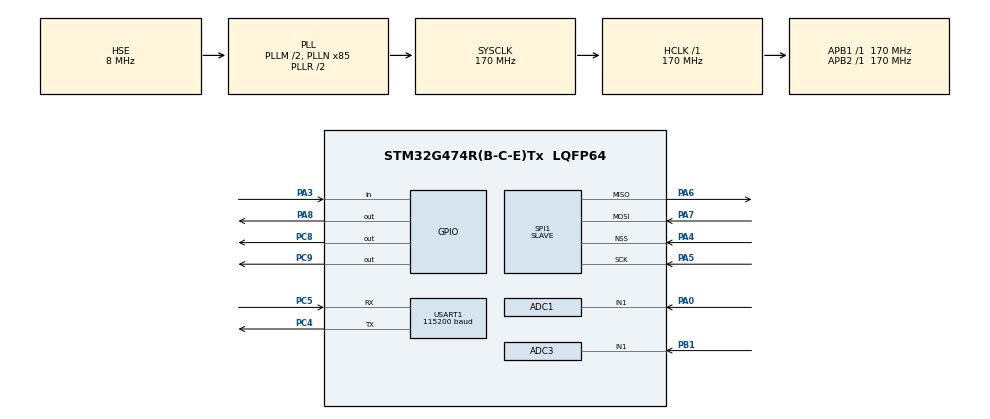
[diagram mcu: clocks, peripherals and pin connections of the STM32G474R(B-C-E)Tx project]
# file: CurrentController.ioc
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ADC1.Channel-0\#ChannelRegularConversion=ADC_CHANNEL_1
ADC1.ContinuousConvMode=ENABLE
ADC1.NbrOfConversion=1
ADC1.NbrOfConversionFlag=1
ADC1.OffsetNumber-0\#ChannelRegularConversion=ADC_OFFSET_NONE
ADC1.OversamplingMode=ENABLE
ADC1.Rank-0\#ChannelRegularConversion=1
ADC1.Ratio=ADC_OVERSAMPLING_RATIO_8
ADC1.SamplingTime-0\#ChannelRegularConversion=ADC_SAMPLETIME_2CYCLES_5
ADC1.master=1
ADC3.Channel-2\#ChannelRegularConversion=ADC_CHANNEL_1
ADC3.NbrOfConversionFlag=1
ADC3.OffsetNumber-2\#ChannelRegularConversion=ADC_OFFSET_NONE
ADC3.Rank-2\#ChannelRegularConversion=1
ADC3.SamplingTime-2\#ChannelRegularConversion=ADC_SAMPLETIME_2CYCLES_5
ADC3.master=1
Mcu.Family=STM32G4
Mcu.Name=STM32G474R(B-C-E)Tx
Mcu.Package=LQFP64
NVIC.PriorityGroup=NVIC_PRIORITYGROUP_4
NVIC.USART1_IRQn=true\:0\:0\:false\:false\:true\:true\:true\:true
PA0.Mode=IN1-Single-Ended
PA0.Signal=ADC1_IN1
PA13.Mode=Serial_Wire
PA13.Signal=SYS_JTMS-SWDIO
PA14.Mode=Serial_Wire
PA14.Signal=SYS_JTCK-SWCLK
PA3.Signal=GPIO_Input
PA4.Mode=NSS_Signal_Hard_Input
PA4.Signal=SPI1_NSS
PA5.Mode=Full_Duplex_Slave
PA5.Signal=SPI1_SCK
PA6.Mode=Full_Duplex_Slave
PA6.Signal=SPI1_MISO
PA7.Mode=Full_Duplex_Slave
PA7.Signal=SPI1_MOSI
PA8.Signal=GPIO_Output
PB1.Mode=IN1-Single-Ended
PB1.Signal=ADC3_IN1
PC4.Mode=Asynchronous
PC4.Signal=USART1_TX
PC5.Mode=Asynchronous
PC5.Signal=USART1_RX
PC8.Signal=GPIO_Output
PC9.Signal=GPIO_Output
PF0-OSC_IN.Mode=HSE-External-Oscillator
PF0-OSC_IN.Signal=RCC_OSC_IN
PF1-OSC_OUT.Mode=HSE-External-Oscillator
PF1-OSC_OUT.Signal=RCC_OSC_OUT
ProjectManager.HeapSize=0x200
ProjectManager.StackSize=0x400
ProjectManager.TargetToolchain=STM32CubeIDE
RCC.ADC12Freq_Value=170000000
RCC.ADC345Freq_Value=170000000
RCC.AHBFreq_Value=170000000
RCC.APB1Freq_Value=170000000
RCC.APB1TimFreq_Value=170000000
RCC.APB2Freq_Value=170000000
RCC.APB2TimFreq_Value=170000000
RCC.CortexFreq_Value=170000000
RCC.EXTERNAL_CLOCK_VALUE=12288000
RCC.HCLKFreq_Value=170000000
RCC.HSE_VALUE=8000000
RCC.HSI48_VALUE=48000000
RCC.HSI_VALUE=16000000
RCC.LSE_VALUE=32768
RCC.PLLM=RCC_PLLM_DIV2
RCC.PLLN=85
RCC.PLLSourceVirtual=RCC_PLLSOURCE_HSE
RCC.SYSCLKFreq_VALUE=170000000
RCC.SYSCLKSource=RCC_SYSCLKSOURCE_PLLCLK
RCC.USBFreq_Value=170000000
RCC.VCOOutputFreq_Value=340000000
SPI1.Direction=SPI_DIRECTION_2LINES
SPI1.Mode=SPI_MODE_SLAVE
SPI1.VirtualNSS=VM_NSSHARD
SPI1.VirtualType=VM_SLAVE
USART1.BaudRate=115200
USART1.ClockPrescaler=PRESCALER_DIV1
USART1.Parity=PARITY_NONE
USART1.StopBits=STOPBITS_1
USART1.VirtualMode-Asynchronous=VM_ASYNC
USART1.WordLength=WORDLENGTH_8B
VP_SYS_VS_DBSignals.Mode=DisableDeadBatterySignals
board=custom

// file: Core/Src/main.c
/* USER CODE BEGIN Header */
/**
 ******************************************************************************
 * @file           : main.c
 * @brief          : Main program body
 ******************************************************************************
 * @attention
 *
 * Copyright (c) 2024 STMicroelectronics.
 * All rights reserved.
 *
 * This software is licensed under terms that can be found in the LICENSE file
 * in the root directory of this software component.
 * If no LICENSE file comes with this software, it is provided AS-IS.
 *
 ******************************************************************************
 */
/* USER CODE END Header */
#include "main.h"

/* USER CODE BEGIN Includes */
#include <stdlib.h>
#include<string.h>
/* USER CODE END Includes */

ADC_HandleTypeDef hadc1;
ADC_HandleTypeDef hadc3;

SPI_HandleTypeDef hspi1;

UART_HandleTypeDef huart1;

/* USER CODE BEGIN PV */
int currentma = 0, targetCurrentma = 100, currPWM = 0;
uint64_t lastReceivedms = 0;

char dataRx[1];
char *received;

/* USER CODE END PV */

void SystemClock_Config(void);
static void MX_GPIO_Init(void);
static void MX_ADC1_Init(void);
static void MX_USART1_UART_Init(void);
static void MX_ADC3_Init(void);
static void MX_SPI1_Init(void);

/* USER CODE BEGIN 0 */
char* substring(char *s, int a, int b) {
	char *t = malloc(sizeof(char) * ((b - a) + 1));
	for (int z = 0; z < (b - a) + 1; z++) {
		t[z] = 0x00;
	}
	strncpy(t, s + a, b - a);
	return t;
}
int indexOf(char *source, char *key, int startIndex) {
	char *found = strstr((source + startIndex), key);
	if (found != NULL) {
		int index = found - source;
		return index;
	}
	return -1;
}
void parseDataIfValid(char *data) {
	if (indexOf(data, "{", 0) == 0 && indexOf(data, "}", 0) != -1) {
		char * val = substring(data, 1, indexOf(data, "}", 0));
		targetCurrentma = atoi(val);
		lastReceivedms = HAL_GetTick();
		free(val);
	}
}
void HAL_UART_RxCpltCallback(UART_HandleTypeDef *huart) {
	if (received == NULL) {
		received = malloc(sizeof(char) * 2);
		received[0] = 0x00;
		received[1] = 0x00;
	} else {
		received = realloc(received, sizeof(char) * (strlen(received) + 2));
	}

	strcat(received, dataRx);
	if (dataRx[0] == '\n') {
		parseDataIfValid(received);
		free(received);
		received = NULL;
	} else if (strlen(received) > 100) { //100 is mx length of receiveddata per value
		free(received);
		received = NULL;
	}
	HAL_UART_Receive_IT(&huart1, dataRx, 1);

}
/* USER CODE END 0 */

int main(void)
{

  /* MCU Configuration--------------------------------------------------------*/

  /* Reset of all peripherals, Initializes the Flash interface and the Systick. */
  HAL_Init();

  /* Configure the system clock */
  SystemClock_Config();

  /* Initialize all configured peripherals */
  MX_GPIO_Init();
  MX_ADC1_Init();
  MX_USART1_UART_Init();
  MX_ADC3_Init();
  MX_SPI1_Init();
  /* USER CODE BEGIN 2 */
	HAL_TIM_PWM_Start(&htim1, TIM_CHANNEL_1);
	HAL_TIMEx_PWMN_Start(&htim1, TIM_CHANNEL_1);
	HAL_TIM_OC_Start_IT(&htim3, TIM_CHANNEL_1);
	//HAL_UART_Receive_IT(&huart1, dataRx, 1);
  /* USER CODE END 2 */

  /* Infinite loop */
	while (1) {

	}
}

void SystemClock_Config(void)
{
  RCC_OscInitTypeDef RCC_OscInitStruct = {0};
  RCC_ClkInitTypeDef RCC_ClkInitStruct = {0};

  /** Configure the main internal regulator output voltage
  */
  HAL_PWREx_ControlVoltageScaling(PWR_REGULATOR_VOLTAGE_SCALE1_BOOST);

  /** Initializes the RCC Oscillators according to the specified parameters
  * in the RCC_OscInitTypeDef structure.
  */
  RCC_OscInitStruct.OscillatorType = RCC_OSCILLATORTYPE_HSE;
  RCC_OscInitStruct.HSEState = RCC_HSE_ON;
  RCC_OscInitStruct.PLL.PLLState = RCC_PLL_ON;
  RCC_OscInitStruct.PLL.PLLSource = RCC_PLLSOURCE_HSE;
  RCC_OscInitStruct.PLL.PLLM = RCC_PLLM_DIV2;
  RCC_OscInitStruct.PLL.PLLN = 85;
  RCC_OscInitStruct.PLL.PLLP = RCC_PLLP_DIV2;
  RCC_OscInitStruct.PLL.PLLQ = RCC_PLLQ_DIV2;
  RCC_OscInitStruct.PLL.PLLR = RCC_PLLR_DIV2;
  if (HAL_RCC_OscConfig(&RCC_OscInitStruct) != HAL_OK)
  {
    Error_Handler();
  }

  /** Initializes the CPU, AHB and APB buses clocks
  */
  RCC_ClkInitStruct.ClockType = RCC_CLOCKTYPE_HCLK|RCC_CLOCKTYPE_SYSCLK
                              |RCC_CLOCKTYPE_PCLK1|RCC_CLOCKTYPE_PCLK2;
  RCC_ClkInitStruct.SYSCLKSource = RCC_SYSCLKSOURCE_PLLCLK;
  RCC_ClkInitStruct.AHBCLKDivider = RCC_SYSCLK_DIV1;
  RCC_ClkInitStruct.APB1CLKDivider = RCC_HCLK_DIV1;
  RCC_ClkInitStruct.APB2CLKDivider = RCC_HCLK_DIV1;

  if (HAL_RCC_ClockConfig(&RCC_ClkInitStruct, FLASH_LATENCY_4) != HAL_OK)
  {
    Error_Handler();
  }
}

static void MX_ADC1_Init(void)
{

  ADC_MultiModeTypeDef multimode = {0};
  ADC_ChannelConfTypeDef sConfig = {0};

  /** Common config
  */
  hadc1.Instance = ADC1;
  hadc1.Init.ClockPrescaler = ADC_CLOCK_SYNC_PCLK_DIV4;
  hadc1.Init.Resolution = ADC_RESOLUTION_12B;
  hadc1.Init.DataAlign = ADC_DATAALIGN_RIGHT;
  hadc1.Init.GainCompensation = 0;
  hadc1.Init.ScanConvMode = ADC_SCAN_DISABLE;
  hadc1.Init.EOCSelection = ADC_EOC_SINGLE_CONV;
  hadc1.Init.LowPowerAutoWait = DISABLE;
  hadc1.Init.ContinuousConvMode = ENABLE;
  hadc1.Init.NbrOfConversion = 1;
  hadc1.Init.DiscontinuousConvMode = DISABLE;
  hadc1.Init.ExternalTrigConv = ADC_SOFTWARE_START;
  hadc1.Init.ExternalTrigConvEdge = ADC_EXTERNALTRIGCONVEDGE_NONE;
  hadc1.Init.DMAContinuousRequests = DISABLE;
  hadc1.Init.Overrun = ADC_OVR_DATA_PRESERVED;
  hadc1.Init.OversamplingMode = ENABLE;
  hadc1.Init.Oversampling.Ratio = ADC_OVERSAMPLING_RATIO_8;
  hadc1.Init.Oversampling.RightBitShift = ADC_RIGHTBITSHIFT_NONE;
  hadc1.Init.Oversampling.TriggeredMode = ADC_TRIGGEREDMODE_SINGLE_TRIGGER;
  hadc1.Init.Oversampling.OversamplingStopReset = ADC_REGOVERSAMPLING_CONTINUED_MODE;
  if (HAL_ADC_Init(&hadc1) != HAL_OK)
  {
    Error_Handler();
  }

  /** Configure the ADC multi-mode
  */
  multimode.Mode = ADC_MODE_INDEPENDENT;
  if (HAL_ADCEx_MultiModeConfigChannel(&hadc1, &multimode) != HAL_OK)
  {
    Error_Handler();
  }

  /** Configure Regular Channel
  */
  sConfig.Channel = ADC_CHANNEL_1;
  sConfig.Rank = ADC_REGULAR_RANK_1;
  sConfig.SamplingTime = ADC_SAMPLETIME_2CYCLES_5;
  sConfig.SingleDiff = ADC_SINGLE_ENDED;
  sConfig.OffsetNumber = ADC_OFFSET_NONE;
  sConfig.Offset = 0;
  if (HAL_ADC_ConfigChannel(&hadc1, &sConfig) != HAL_OK)
  {
    Error_Handler();
  }

}

static void MX_ADC3_Init(void)
{

  ADC_MultiModeTypeDef multimode = {0};
  ADC_ChannelConfTypeDef sConfig = {0};

  /** Common config
  */
  hadc3.Instance = ADC3;
  hadc3.Init.ClockPrescaler = ADC_CLOCK_SYNC_PCLK_DIV4;
  hadc3.Init.Resolution = ADC_RESOLUTION_12B;
  hadc3.Init.DataAlign = ADC_DATAALIGN_RIGHT;
  hadc3.Init.GainCompensation = 0;
  hadc3.Init.ScanConvMode = ADC_SCAN_DISABLE;
  hadc3.Init.EOCSelection = ADC_EOC_SINGLE_CONV;
  hadc3.Init.LowPowerAutoWait = DISABLE;
  hadc3.Init.ContinuousConvMode = DISABLE;
  hadc3.Init.NbrOfConversion = 1;
  hadc3.Init.DiscontinuousConvMode = DISABLE;
  hadc3.Init.ExternalTrigConv = ADC_SOFTWARE_START;
  hadc3.Init.ExternalTrigConvEdge = ADC_EXTERNALTRIGCONVEDGE_NONE;
  hadc3.Init.DMAContinuousRequests = DISABLE;
  hadc3.Init.Overrun = ADC_OVR_DATA_PRESERVED;
  hadc3.Init.OversamplingMode = DISABLE;
  if (HAL_ADC_Init(&hadc3) != HAL_OK)
  {
    Error_Handler();
  }

  /** Configure the ADC multi-mode
  */
  multimode.Mode = ADC_MODE_INDEPENDENT;
  if (HAL_ADCEx_MultiModeConfigChannel(&hadc3, &multimode) != HAL_OK)
  {
    Error_Handler();
  }

  /** Configure Regular Channel
  */
  sConfig.Channel = ADC_CHANNEL_1;
  sConfig.Rank = ADC_REGULAR_RANK_1;
  sConfig.SamplingTime = ADC_SAMPLETIME_2CYCLES_5;
  sConfig.SingleDiff = ADC_SINGLE_ENDED;
  sConfig.OffsetNumber = ADC_OFFSET_NONE;
  sConfig.Offset = 0;
  if (HAL_ADC_ConfigChannel(&hadc3, &sConfig) != HAL_OK)
  {
    Error_Handler();
  }

}

static void MX_SPI1_Init(void)
{

  /* SPI1 parameter configuration*/
  hspi1.Instance = SPI1;
  hspi1.Init.Mode = SPI_MODE_SLAVE;
  hspi1.Init.Direction = SPI_DIRECTION_2LINES;
  hspi1.Init.DataSize = SPI_DATASIZE_4BIT;
  hspi1.Init.CLKPolarity = SPI_POLARITY_LOW;
  hspi1.Init.CLKPhase = SPI_PHASE_1EDGE;
  hspi1.Init.NSS = SPI_NSS_HARD_INPUT;
  hspi1.Init.FirstBit = SPI_FIRSTBIT_MSB;
  hspi1.Init.TIMode = SPI_TIMODE_DISABLE;
  hspi1.Init.CRCCalculation = SPI_CRCCALCULATION_DISABLE;
  hspi1.Init.CRCPolynomial = 7;
  hspi1.Init.CRCLength = SPI_CRC_LENGTH_DATASIZE;
  hspi1.Init.NSSPMode = SPI_NSS_PULSE_DISABLE;
  if (HAL_SPI_Init(&hspi1) != HAL_OK)
  {
    Error_Handler();
  }

}

static void MX_USART1_UART_Init(void)
{

  huart1.Instance = USART1;
  huart1.Init.BaudRate = 115200;
  huart1.Init.WordLength = UART_WORDLENGTH_8B;
  huart1.Init.StopBits = UART_STOPBITS_1;
  huart1.Init.Parity = UART_PARITY_NONE;
  huart1.Init.Mode = UART_MODE_TX_RX;
  huart1.Init.HwFlowCtl = UART_HWCONTROL_NONE;
  huart1.Init.OverSampling = UART_OVERSAMPLING_16;
  huart1.Init.OneBitSampling = UART_ONE_BIT_SAMPLE_DISABLE;
  huart1.Init.ClockPrescaler = UART_PRESCALER_DIV1;
  huart1.AdvancedInit.AdvFeatureInit = UART_ADVFEATURE_NO_INIT;
  if (HAL_UART_Init(&huart1) != HAL_OK)
  {
    Error_Handler();
  }
  if (HAL_UARTEx_SetTxFifoThreshold(&huart1, UART_TXFIFO_THRESHOLD_1_8) != HAL_OK)
  {
    Error_Handler();
  }
  if (HAL_UARTEx_SetRxFifoThreshold(&huart1, UART_RXFIFO_THRESHOLD_1_8) != HAL_OK)
  {
    Error_Handler();
  }
  if (HAL_UARTEx_DisableFifoMode(&huart1) != HAL_OK)
  {
    Error_Handler();
  }

}

static void MX_GPIO_Init(void)
{
  GPIO_InitTypeDef GPIO_InitStruct = {0};

  /* GPIO Ports Clock Enable */
  __HAL_RCC_GPIOF_CLK_ENABLE();
  __HAL_RCC_GPIOA_CLK_ENABLE();
  __HAL_RCC_GPIOC_CLK_ENABLE();
  __HAL_RCC_GPIOB_CLK_ENABLE();

  /*Configure GPIO pin Output Level */
  HAL_GPIO_WritePin(GPIOC, GPIO_PIN_8|GPIO_PIN_9, GPIO_PIN_RESET);

  /*Configure GPIO pin Output Level */
  HAL_GPIO_WritePin(GPIOA, GPIO_PIN_8, GPIO_PIN_RESET);

  /*Configure GPIO pin : PA3 */
  GPIO_InitStruct.Pin = GPIO_PIN_3;
  GPIO_InitStruct.Mode = GPIO_MODE_INPUT;
  GPIO_InitStruct.Pull = GPIO_NOPULL;
  HAL_GPIO_Init(GPIOA, &GPIO_InitStruct);

  /*Configure GPIO pins : PC8 PC9 */
  GPIO_InitStruct.Pin = GPIO_PIN_8|GPIO_PIN_9;
  GPIO_InitStruct.Mode = GPIO_MODE_OUTPUT_PP;
  GPIO_InitStruct.Pull = GPIO_NOPULL;
  GPIO_InitStruct.Speed = GPIO_SPEED_FREQ_LOW;
  HAL_GPIO_Init(GPIOC, &GPIO_InitStruct);

  /*Configure GPIO pin : PA8 */
  GPIO_InitStruct.Pin = GPIO_PIN_8;
  GPIO_InitStruct.Mode = GPIO_MODE_OUTPUT_PP;
  GPIO_InitStruct.Pull = GPIO_NOPULL;
  GPIO_InitStruct.Speed = GPIO_SPEED_FREQ_LOW;
  HAL_GPIO_Init(GPIOA, &GPIO_InitStruct);

}

void Error_Handler(void)
{
	__disable_irq();
	while (1) {
	}
}
